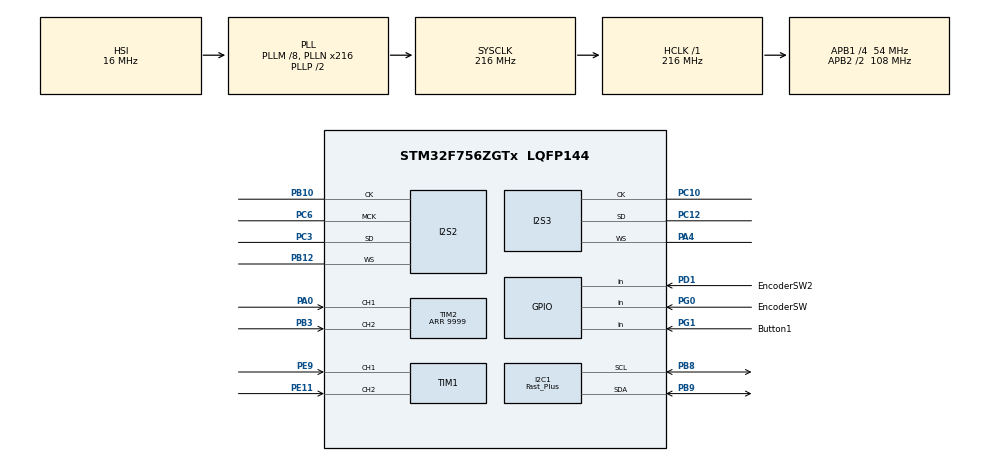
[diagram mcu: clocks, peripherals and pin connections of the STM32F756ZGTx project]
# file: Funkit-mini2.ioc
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CORTEX_M7.ART_ACCELERATOR_ENABLE=0
CORTEX_M7.CPU_DCache=Disabled
CORTEX_M7.CPU_ICache=Disabled
CORTEX_M7.PREFETCH_ENABLE=1
CORTEX_M7.default_mode_Activation=1
Dma.Request0=SPI3_TX
Dma.Request1=SPI2_RX
Dma.SPI2_RX.1.Direction=DMA_PERIPH_TO_MEMORY
Dma.SPI2_RX.1.FIFOMode=DMA_FIFOMODE_DISABLE
Dma.SPI2_RX.1.Instance=DMA1_Stream3
Dma.SPI2_RX.1.MemDataAlignment=DMA_MDATAALIGN_HALFWORD
Dma.SPI2_RX.1.MemInc=DMA_MINC_ENABLE
Dma.SPI2_RX.1.Mode=DMA_CIRCULAR
Dma.SPI2_RX.1.PeriphDataAlignment=DMA_PDATAALIGN_HALFWORD
Dma.SPI2_RX.1.PeriphInc=DMA_PINC_DISABLE
Dma.SPI2_RX.1.Priority=DMA_PRIORITY_LOW
Dma.SPI3_TX.0.Direction=DMA_MEMORY_TO_PERIPH
Dma.SPI3_TX.0.FIFOMode=DMA_FIFOMODE_DISABLE
Dma.SPI3_TX.0.Instance=DMA1_Stream5
Dma.SPI3_TX.0.MemDataAlignment=DMA_MDATAALIGN_HALFWORD
Dma.SPI3_TX.0.MemInc=DMA_MINC_ENABLE
Dma.SPI3_TX.0.Mode=DMA_CIRCULAR
Dma.SPI3_TX.0.PeriphDataAlignment=DMA_PDATAALIGN_HALFWORD
Dma.SPI3_TX.0.PeriphInc=DMA_PINC_DISABLE
Dma.SPI3_TX.0.Priority=DMA_PRIORITY_LOW
I2C1.I2C_Speed_Mode=I2C_Fast_Plus
I2C1.Timing=0x00200922
I2S2.AudioFreq=I2S_AUDIOFREQ_96K
I2S2.CPOL=I2S_CPOL_LOW
I2S2.DataFormat=I2S_DATAFORMAT_24B
I2S2.ErrorAudioFreq=0.19 %
I2S2.FullDuplexMode=I2S_FULLDUPLEXMODE_DISABLE
I2S2.Instance=SPI$Index
I2S2.Mode=I2S_MODE_MASTER_RX
I2S2.RealAudioFreq=96.191 KHz
I2S2.Standard=I2S_STANDARD_PHILIPS
I2S2.VirtualMode=I2S_MODE_MASTER
I2S3.AudioFreq=I2S_AUDIOFREQ_96K
I2S3.CPOL=I2S_CPOL_LOW
I2S3.DataFormat=I2S_DATAFORMAT_24B
I2S3.ErrorAudioFreq=0.19 %
I2S3.FullDuplexMode=I2S_FULLDUPLEXMODE_DISABLE
I2S3.Instance=SPI$Index
I2S3.RealAudioFreq=96.191 KHz
I2S3.Standard=I2S_STANDARD_PHILIPS
I2S3.VirtualMode=I2S_MODE_SLAVE
Mcu.Family=STM32F7
Mcu.Name=STM32F756ZGTx
Mcu.Package=LQFP144
NVIC.DMA1_Stream3_IRQn=true\:0\:0\:true\:false\:true\:false\:true\:true
NVIC.DMA1_Stream5_IRQn=true\:0\:0\:false\:false\:true\:false\:true\:true
NVIC.PriorityGroup=NVIC_PRIORITYGROUP_4
PA0/WKUP.Signal=S_TIM2_CH1_ETR
PA4.Mode=Half_Duplex_Slave
PA4.Signal=I2S3_WS
PB10.Mode=Half_Duplex_Master
PB10.Signal=I2S2_CK
PB12.Mode=Half_Duplex_Master
PB12.Signal=I2S2_WS
PB3.Signal=S_TIM2_CH2
PB8.Mode=I2C
PB8.Signal=I2C1_SCL
PB9.Mode=I2C
PB9.Signal=I2C1_SDA
PC10.Mode=Half_Duplex_Slave
PC10.Signal=I2S3_CK
PC12.Mode=Half_Duplex_Slave
PC12.Signal=I2S3_SD
PC3.Mode=Half_Duplex_Master
PC3.Signal=I2S2_SD
PC6.Mode=Master_Clock_Activated
PC6.Signal=I2S2_MCK
PD1.GPIO_Label=EncoderSW2
PD1.Signal=GPIO_Input
PE11.Signal=S_TIM1_CH2
PE9.Signal=S_TIM1_CH1
PG0.GPIO_Label=EncoderSW
PG0.Signal=GPIO_Input
PG1.GPIO_Label=Button1
PG1.GPIO_PuPd=GPIO_PULLUP
PG1.Signal=GPIO_Input
ProjectManager.HeapSize=0x200
ProjectManager.StackSize=0x400
ProjectManager.TargetToolchain=STM32CubeIDE
RCC.AHBFreq_Value=216000000
RCC.APB1CLKDivider=RCC_HCLK_DIV4
RCC.APB1Freq_Value=54000000
RCC.APB1TimFreq_Value=108000000
RCC.APB2CLKDivider=RCC_HCLK_DIV2
RCC.APB2Freq_Value=108000000
RCC.APB2TimFreq_Value=216000000
RCC.CortexFreq_Value=216000000
RCC.HCLKFreq_Value=216000000
RCC.HSE_VALUE=25000000
RCC.HSI_VALUE=16000000
RCC.LSE_VALUE=32768
RCC.PLLI2SN=197
RCC.PLLI2SR=4
RCC.PLLM=8
RCC.PLLN=216
RCC.PLLSAIN=432
RCC.SYSCLKFreq_VALUE=216000000
RCC.SYSCLKSource=RCC_SYSCLKSOURCE_PLLCLK
RCC.USBFreq_Value=216000000
RCC.VCOOutputFreq_Value=432000000
SH.S_TIM1_CH1.0=TIM1_CH1,Encoder_Interface
SH.S_TIM1_CH2.0=TIM1_CH2,Encoder_Interface
SH.S_TIM2_CH1_ETR.0=TIM2_CH1,Encoder_Interface
SH.S_TIM2_CH2.0=TIM2_CH2,Encoder_Interface
TIM2.IC1Filter=10
TIM2.IC2Filter=10
TIM2.Period=9999
board=custom

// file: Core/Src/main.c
/* USER CODE BEGIN Header */
/**
  ******************************************************************************
  * @file           : main.c
  * @brief          : Main program body
  ******************************************************************************
  * @attention
  *
  * Copyright (c) 2025 STMicroelectronics.
  * All rights reserved.
  *
  * This software is licensed under terms that can be found in the LICENSE file
  * in the root directory of this software component.
  * If no LICENSE file comes with this software, it is provided AS-IS.
  *
  ******************************************************************************
  */
/* USER CODE END Header */
#include "main.h"

/* USER CODE BEGIN Includes */
#include <arm_math.h>
#include <stdlib.h>
#include <string.h>
#include <stdio.h>
#include "i2c_lcd.h"
#include "delay.h"
#include "echo.h"
#include "filter_effect.h"
/* USER CODE END Includes */

I2C_HandleTypeDef hi2c1;

I2S_HandleTypeDef hi2s2;
I2S_HandleTypeDef hi2s3;
DMA_HandleTypeDef hdma_spi2_rx;
DMA_HandleTypeDef hdma_spi3_tx;

TIM_HandleTypeDef htim1;
TIM_HandleTypeDef htim2;

/* USER CODE BEGIN PV */

// Variables that keep the state of the DMA TX/RX completion
volatile int rxHalfComplete = 0;
volatile int txHalfComplete = 0;
volatile int rxFullComplete = 0;
volatile int txFullComplete = 0;
volatile int stateUpdateCounter = 0;
// DMA Buffers
uint16_t 	rxBuf[BUF_SAMPLES];
uint16_t 	txBuf[BUF_SAMPLES];

float32_t	srcLeft[SAMPLES/2];
float32_t	srcRight[SAMPLES/2];
float32_t	destLeft[SAMPLES/2];
float32_t	destRight[SAMPLES/2];

volatile int delayPtr = 0;

masterState mState = {PASS, 0, 1.f, 0, 0, 0, 0};
// LCD object definition
I2C_LCD_HandleTypeDef lcd;

/* USER CODE END PV */

void SystemClock_Config(void);
void PeriphCommonClock_Config(void);
static void MPU_Config(void);
static void MX_GPIO_Init(void);
static void MX_DMA_Init(void);
static void MX_I2S2_Init(void);
static void MX_I2S3_Init(void);
static void MX_TIM1_Init(void);
static void MX_I2C1_Init(void);
static void MX_TIM2_Init(void);
/* USER CODE BEGIN PFP */
static void updateState();
static void doEffect(int b);
void doPassthru( int b );

/* USER CODE END PFP */

int main(void)
{

  /* MPU Configuration--------------------------------------------------------*/
  MPU_Config();

  /* MCU Configuration--------------------------------------------------------*/

  /* Reset of all peripherals, Initializes the Flash interface and the Systick. */
  HAL_Init();

  /* USER CODE BEGIN Init */
  memset(txBuf, 0, sizeof(txBuf));
  memset(rxBuf, 0, sizeof(rxBuf));
  /* USER CODE END Init */

  /* Configure the system clock */
  SystemClock_Config();

  /* Configure the peripherals common clocks */
  PeriphCommonClock_Config();

  /* Initialize all configured peripherals */
  MX_GPIO_Init();
  MX_DMA_Init();
  MX_I2S2_Init();
  MX_I2S3_Init();
  MX_TIM1_Init();
  MX_I2C1_Init();
  MX_TIM2_Init();
  /* USER CODE BEGIN 2 */
  lcd.hi2c = &hi2c1;
  lcd.address = (0x27 << 1); // Magic bit shifting beucse an arbitrary address wasnt bad enough
  lcd_init(&lcd);
  lcd_puts(&lcd, "No Effect");
  /* USER CODE END 2 */

  /* Infinite loop */
  /* USER CODE BEGIN WHILE */

  //DelayInit(&lcd);
  EchoInit(&lcd, hi2s2.Init.AudioFreq);
  FilterEffectInit(&lcd, hi2s2.Init.AudioFreq);
  HAL_TIM_Encoder_Start(&htim1, TIM_CHANNEL_ALL);
  HAL_TIM_Encoder_Start(&htim2, TIM_CHANNEL_ALL);
  if(HAL_I2S_Transmit_DMA(&hi2s3, txBuf, SAMPLES*2 ) != HAL_OK ||
  HAL_I2S_Receive_DMA(&hi2s2, rxBuf, SAMPLES*2 ) != HAL_OK){
	  Error_Handler();
  }

  while (1)
  {

	  if ( rxHalfComplete && txHalfComplete )
	  	  {
		      doEffect(0);

	  		  rxHalfComplete = 0;
	  		  txHalfComplete = 0;
	  	  }

	  else if ( rxFullComplete && txFullComplete )
	  	  {
		  	  doEffect(1);

	  		  rxFullComplete = 0;
	  		  txFullComplete = 0;
	  	  }
	  else{
		  stateUpdateCounter++;
		  if(stateUpdateCounter > STATE_UPDATE_DIV)
		  {
			  updateState();
			  stateUpdateCounter = 0;
		  }
	  }
    /* USER CODE END WHILE */

  }
}

void SystemClock_Config(void)
{
  RCC_OscInitTypeDef RCC_OscInitStruct = {0};
  RCC_ClkInitTypeDef RCC_ClkInitStruct = {0};

  /** Configure the main internal regulator output voltage
  */
  __HAL_RCC_PWR_CLK_ENABLE();
  __HAL_PWR_VOLTAGESCALING_CONFIG(PWR_REGULATOR_VOLTAGE_SCALE1);

  /** Initializes the RCC Oscillators according to the specified parameters
  * in the RCC_OscInitTypeDef structure.
  */
  RCC_OscInitStruct.OscillatorType = RCC_OSCILLATORTYPE_HSI;
  RCC_OscInitStruct.HSIState = RCC_HSI_ON;
  RCC_OscInitStruct.HSICalibrationValue = RCC_HSICALIBRATION_DEFAULT;
  RCC_OscInitStruct.PLL.PLLState = RCC_PLL_ON;
  RCC_OscInitStruct.PLL.PLLSource = RCC_PLLSOURCE_HSI;
  RCC_OscInitStruct.PLL.PLLM = 8;
  RCC_OscInitStruct.PLL.PLLN = 216;
  RCC_OscInitStruct.PLL.PLLP = RCC_PLLP_DIV2;
  RCC_OscInitStruct.PLL.PLLQ = 2;
  if (HAL_RCC_OscConfig(&RCC_OscInitStruct) != HAL_OK)
  {
    Error_Handler();
  }

  /** Activate the Over-Drive mode
  */
  if (HAL_PWREx_EnableOverDrive() != HAL_OK)
  {
    Error_Handler();
  }

  /** Initializes the CPU, AHB and APB buses clocks
  */
  RCC_ClkInitStruct.ClockType = RCC_CLOCKTYPE_HCLK|RCC_CLOCKTYPE_SYSCLK
                              |RCC_CLOCKTYPE_PCLK1|RCC_CLOCKTYPE_PCLK2;
  RCC_ClkInitStruct.SYSCLKSource = RCC_SYSCLKSOURCE_PLLCLK;
  RCC_ClkInitStruct.AHBCLKDivider = RCC_SYSCLK_DIV1;
  RCC_ClkInitStruct.APB1CLKDivider = RCC_HCLK_DIV4;
  RCC_ClkInitStruct.APB2CLKDivider = RCC_HCLK_DIV2;

  if (HAL_RCC_ClockConfig(&RCC_ClkInitStruct, FLASH_LATENCY_7) != HAL_OK)
  {
    Error_Handler();
  }
}

void PeriphCommonClock_Config(void)
{
  RCC_PeriphCLKInitTypeDef PeriphClkInitStruct = {0};

  /** Initializes the peripherals clock
  */
  PeriphClkInitStruct.PeriphClockSelection = RCC_PERIPHCLK_I2S;
  PeriphClkInitStruct.PLLI2S.PLLI2SN = 197;
  PeriphClkInitStruct.PLLI2S.PLLI2SP = RCC_PLLP_DIV2;
  PeriphClkInitStruct.PLLI2S.PLLI2SR = 4;
  PeriphClkInitStruct.PLLI2S.PLLI2SQ = 2;
  PeriphClkInitStruct.PLLI2SDivQ = 1;
  PeriphClkInitStruct.I2sClockSelection = RCC_I2SCLKSOURCE_PLLI2S;
  if (HAL_RCCEx_PeriphCLKConfig(&PeriphClkInitStruct) != HAL_OK)
  {
    Error_Handler();
  }
}

static void MX_I2C1_Init(void)
{

  hi2c1.Instance = I2C1;
  hi2c1.Init.Timing = 0x00200922;
  hi2c1.Init.OwnAddress1 = 0;
  hi2c1.Init.AddressingMode = I2C_ADDRESSINGMODE_7BIT;
  hi2c1.Init.DualAddressMode = I2C_DUALADDRESS_DISABLE;
  hi2c1.Init.OwnAddress2 = 0;
  hi2c1.Init.OwnAddress2Masks = I2C_OA2_NOMASK;
  hi2c1.Init.GeneralCallMode = I2C_GENERALCALL_DISABLE;
  hi2c1.Init.NoStretchMode = I2C_NOSTRETCH_DISABLE;
  if (HAL_I2C_Init(&hi2c1) != HAL_OK)
  {
    Error_Handler();
  }

  /** Configure Analogue filter
  */
  if (HAL_I2CEx_ConfigAnalogFilter(&hi2c1, I2C_ANALOGFILTER_ENABLE) != HAL_OK)
  {
    Error_Handler();
  }

  /** Configure Digital filter
  */
  if (HAL_I2CEx_ConfigDigitalFilter(&hi2c1, 0) != HAL_OK)
  {
    Error_Handler();
  }

  /** I2C Enable Fast Mode Plus
  */
  HAL_I2CEx_EnableFastModePlus(I2C_FASTMODEPLUS_I2C1);

}

static void MX_I2S2_Init(void)
{

  hi2s2.Instance = SPI2;
  hi2s2.Init.Mode = I2S_MODE_MASTER_RX;
  hi2s2.Init.Standard = I2S_STANDARD_PHILIPS;
  hi2s2.Init.DataFormat = I2S_DATAFORMAT_24B;
  hi2s2.Init.MCLKOutput = I2S_MCLKOUTPUT_ENABLE;
  hi2s2.Init.AudioFreq = I2S_AUDIOFREQ_96K;
  hi2s2.Init.CPOL = I2S_CPOL_LOW;
  hi2s2.Init.ClockSource = I2S_CLOCK_PLL;
  if (HAL_I2S_Init(&hi2s2) != HAL_OK)
  {
    Error_Handler();
  }

}

static void MX_I2S3_Init(void)
{

  hi2s3.Instance = SPI3;
  hi2s3.Init.Mode = I2S_MODE_SLAVE_TX;
  hi2s3.Init.Standard = I2S_STANDARD_PHILIPS;
  hi2s3.Init.DataFormat = I2S_DATAFORMAT_24B;
  hi2s3.Init.MCLKOutput = I2S_MCLKOUTPUT_DISABLE;
  hi2s3.Init.AudioFreq = I2S_AUDIOFREQ_96K;
  hi2s3.Init.CPOL = I2S_CPOL_LOW;
  hi2s3.Init.ClockSource = I2S_CLOCK_PLL;
  if (HAL_I2S_Init(&hi2s3) != HAL_OK)
  {
    Error_Handler();
  }

}

static void MX_TIM1_Init(void)
{

  TIM_Encoder_InitTypeDef sConfig = {0};
  TIM_MasterConfigTypeDef sMasterConfig = {0};

  htim1.Instance = TIM1;
  htim1.Init.Prescaler = 0;
  htim1.Init.CounterMode = TIM_COUNTERMODE_UP;
  htim1.Init.Period = 65535;
  htim1.Init.ClockDivision = TIM_CLOCKDIVISION_DIV1;
  htim1.Init.RepetitionCounter = 0;
  htim1.Init.AutoReloadPreload = TIM_AUTORELOAD_PRELOAD_DISABLE;
  sConfig.EncoderMode = TIM_ENCODERMODE_TI1;
  sConfig.IC1Polarity = TIM_ICPOLARITY_RISING;
  sConfig.IC1Selection = TIM_ICSELECTION_DIRECTTI;
  sConfig.IC1Prescaler = TIM_ICPSC_DIV1;
  sConfig.IC1Filter = 0;
  sConfig.IC2Polarity = TIM_ICPOLARITY_RISING;
  sConfig.IC2Selection = TIM_ICSELECTION_DIRECTTI;
  sConfig.IC2Prescaler = TIM_ICPSC_DIV1;
  sConfig.IC2Filter = 0;
  if (HAL_TIM_Encoder_Init(&htim1, &sConfig) != HAL_OK)
  {
    Error_Handler();
  }
  sMasterConfig.MasterOutputTrigger = TIM_TRGO_RESET;
  sMasterConfig.MasterOutputTrigger2 = TIM_TRGO2_RESET;
  sMasterConfig.MasterSlaveMode = TIM_MASTERSLAVEMODE_DISABLE;
  if (HAL_TIMEx_MasterConfigSynchronization(&htim1, &sMasterConfig) != HAL_OK)
  {
    Error_Handler();
  }

}

static void MX_TIM2_Init(void)
{

  TIM_Encoder_InitTypeDef sConfig = {0};
  TIM_MasterConfigTypeDef sMasterConfig = {0};

  htim2.Instance = TIM2;
  htim2.Init.Prescaler = 0;
  htim2.Init.CounterMode = TIM_COUNTERMODE_UP;
  htim2.Init.Period = 9999;
  htim2.Init.ClockDivision = TIM_CLOCKDIVISION_DIV1;
  htim2.Init.AutoReloadPreload = TIM_AUTORELOAD_PRELOAD_DISABLE;
  sConfig.EncoderMode = TIM_ENCODERMODE_TI1;
  sConfig.IC1Polarity = TIM_ICPOLARITY_RISING;
  sConfig.IC1Selection = TIM_ICSELECTION_DIRECTTI;
  sConfig.IC1Prescaler = TIM_ICPSC_DIV1;
  sConfig.IC1Filter = 10;
  sConfig.IC2Polarity = TIM_ICPOLARITY_RISING;
  sConfig.IC2Selection = TIM_ICSELECTION_DIRECTTI;
  sConfig.IC2Prescaler = TIM_ICPSC_DIV1;
  sConfig.IC2Filter = 10;
  if (HAL_TIM_Encoder_Init(&htim2, &sConfig) != HAL_OK)
  {
    Error_Handler();
  }
  sMasterConfig.MasterOutputTrigger = TIM_TRGO_RESET;
  sMasterConfig.MasterSlaveMode = TIM_MASTERSLAVEMODE_DISABLE;
  if (HAL_TIMEx_MasterConfigSynchronization(&htim2, &sMasterConfig) != HAL_OK)
  {
    Error_Handler();
  }

}

static void MX_DMA_Init(void)
{

  /* DMA controller clock enable */
  __HAL_RCC_DMA1_CLK_ENABLE();

  /* DMA interrupt init */
  /* DMA1_Stream3_IRQn interrupt configuration */
  HAL_NVIC_SetPriority(DMA1_Stream3_IRQn, 0, 0);
  HAL_NVIC_EnableIRQ(DMA1_Stream3_IRQn);
  /* DMA1_Stream5_IRQn interrupt configuration */
  HAL_NVIC_SetPriority(DMA1_Stream5_IRQn, 0, 0);
  HAL_NVIC_EnableIRQ(DMA1_Stream5_IRQn);

}

static void MX_GPIO_Init(void)
{
  GPIO_InitTypeDef GPIO_InitStruct = {0};

  /* GPIO Ports Clock Enable */
  __HAL_RCC_GPIOC_CLK_ENABLE();
  __HAL_RCC_GPIOA_CLK_ENABLE();
  __HAL_RCC_GPIOG_CLK_ENABLE();
  __HAL_RCC_GPIOE_CLK_ENABLE();
  __HAL_RCC_GPIOB_CLK_ENABLE();
  __HAL_RCC_GPIOD_CLK_ENABLE();

  /*Configure GPIO pin : EncoderSW_Pin */
  GPIO_InitStruct.Pin = EncoderSW_Pin;
  GPIO_InitStruct.Mode = GPIO_MODE_INPUT;
  GPIO_InitStruct.Pull = GPIO_NOPULL;
  HAL_GPIO_Init(EncoderSW_GPIO_Port, &GPIO_InitStruct);

  /*Configure GPIO pin : Button1_Pin */
  GPIO_InitStruct.Pin = Button1_Pin;
  GPIO_InitStruct.Mode = GPIO_MODE_INPUT;
  GPIO_InitStruct.Pull = GPIO_PULLUP;
  HAL_GPIO_Init(Button1_GPIO_Port, &GPIO_InitStruct);

  /*Configure GPIO pin : EncoderSW2_Pin */
  GPIO_InitStruct.Pin = EncoderSW2_Pin;
  GPIO_InitStruct.Mode = GPIO_MODE_INPUT;
  GPIO_InitStruct.Pull = GPIO_NOPULL;
  HAL_GPIO_Init(EncoderSW2_GPIO_Port, &GPIO_InitStruct);

}

/* USER CODE BEGIN 4 */
static void updateState(){
	int isModButtonDown = (HAL_GPIO_ReadPin(Button1_GPIO_Port, Button1_Pin) == GPIO_PIN_RESET);
	mState.encoder1Delta = TIM1->CNT - mState.lastEncoderVal1;
	mState.encoder2Delta = TIM2->CNT - mState.lastEncoderVal2;
	if(abs(mState.encoder1Delta) > 20 || abs(mState.encoder2Delta) > 20) {
		mState.lastEncoderVal1 += mState.encoder1Delta;
		mState.lastEncoderVal2 += mState.encoder2Delta;
		return;
	}
	if(isModButtonDown){
		if(mState.encoder1Delta !=0){
			if(mState.effectTracker == 0) {
				mState.effectTracker = 1;
			} else {
				mState.effectTracker = 0;

				if(mState.encoder1Delta > 0 && mState.currentEffect < NUM_EFFECTS - 1)
					mState.currentEffect = (mState.currentEffect + 1);

				else if(mState.encoder1Delta < 0 && mState.currentEffect != 0)
					mState.currentEffect = (mState.currentEffect - 1);

				switch(mState.currentEffect){
					case PASS:
						lcd_clear(&lcd);
						lcd_puts(&lcd, "No Effect");
						break;
					case ECHO:
						EchoPrintInit();
						break;
					case DELAY:
						lcd_clear(&lcd);
						lcd_puts(&lcd, "Delay");
						break;
					case FILTER:
						FilterEffectPrintInit();
						break;
					case NUM_EFFECTS:
						lcd_clear(&lcd);
						lcd_puts(&lcd, "NUM_EFFECTS (error)");
						break;
				}
			}
		}
		if(mState.encoder2Delta != 0){
			mState.volume += mState.encoder2Delta*0.01f;
			if(mState.volume < 0.) mState.volume = 0.f;
			if(mState.volume > 1.) mState.volume = 1.f;
		}
	}
	else{
		switch(mState.currentEffect){
			case PASS:
				break;
			case ECHO:
				EchoUpdateState(&mState);
				break;
			case DELAY:
				break;
			case FILTER:
				FilterEffectUpdateState(&mState);
				break;
			case NUM_EFFECTS:
				break;
		}

	}
	mState.lastEncoderVal1 += mState.encoder1Delta;
	mState.lastEncoderVal2 += mState.encoder2Delta;
}

static void doEffect(int b){
	switch(mState.currentEffect){
	case PASS:
		doPassthru(b);
		break;
	case ECHO:
		doEcho(b);
		break;
	case DELAY:
		doPassthru(b);
		break;
	case FILTER:
		doFilterEffect(b);
		break;
	case NUM_EFFECTS:
		doPassthru(b);
		break;
	}
}

void doPassthru( int b )
{

    //HAL_GPIO_WritePin( GPIOE, GPIO_PIN_5, GPIO_PIN_SET );

	int startBuf = b * BUF_SAMPLES / 2;
	int endBuf = startBuf + BUF_SAMPLES / 2;

	int i = 0;
	for ( int pos = startBuf ; pos < endBuf ; pos+=4 )
	{
		  srcLeft[i] = ( (rxBuf[pos]<<16)|rxBuf[pos+1]);
		  srcRight[i] = ( (rxBuf[pos+2]<<16)|rxBuf[pos+3] );
		  i++;
	}

	i = 0;
	for ( int pos = startBuf ; pos < endBuf ; pos+=4 )
	  {
			int lval = srcLeft[i] ;
			int rval = srcRight[i];

		  txBuf[pos] = (lval>>16)&0xFFFF;
		  txBuf[pos+1] = lval&0xFFFF;
		  txBuf[pos+2] = (rval>>16)&0xFFFF;
		  txBuf[pos+3] = rval&0xFFFF;

		  i++;
	  }

    //HAL_GPIO_WritePin( GPIOE, GPIO_PIN_5, GPIO_PIN_RESET );

}

void HAL_I2S_TxCpltCallback(I2S_HandleTypeDef *hi2s)
{
	UNUSED(hi2s);
	txFullComplete = 1;
    //HAL_GPIO_WritePin( GPIOE, GPIO_PIN_3, GPIO_PIN_SET );
    //HAL_GPIO_WritePin( GPIOE, GPIO_PIN_3, GPIO_PIN_RESET );
}

void HAL_I2S_RxCpltCallback(I2S_HandleTypeDef *hi2s)
{
    UNUSED(hi2s);
	rxFullComplete = 1;
    //HAL_GPIO_WritePin( GPIOE, GPIO_PIN_4, GPIO_PIN_SET );
    //HAL_GPIO_WritePin( GPIOE, GPIO_PIN_4, GPIO_PIN_RESET );
  }

void HAL_I2S_TxHalfCpltCallback(I2S_HandleTypeDef *hi2s)
{
	UNUSED(hi2s);
	txHalfComplete = 1;
    //HAL_GPIO_WritePin( GPIOE, GPIO_PIN_3, GPIO_PIN_SET );
    //HAL_GPIO_WritePin( GPIOE, GPIO_PIN_3, GPIO_PIN_RESET );
}

void HAL_I2S_RxHalfCpltCallback(I2S_HandleTypeDef *hi2s)
{
    UNUSED(hi2s);
	rxHalfComplete = 1;
    //HAL_GPIO_WritePin( GPIOE, GPIO_PIN_4, GPIO_PIN_SET );
    //HAL_GPIO_WritePin( GPIOE, GPIO_PIN_4, GPIO_PIN_RESET );
}

void HAL_GPIO_EXTI_Callback(uint16_t GPIO_Pin)
{
	  /* Prevent unused argument(s) compilation warning */
	  UNUSED(GPIO_Pin);
}
/* USER CODE END 4 */

 /* MPU Configuration */

void MPU_Config(void)
{
  MPU_Region_InitTypeDef MPU_InitStruct = {0};

  /* Disables the MPU */
  HAL_MPU_Disable();

  /** Initializes and configures the Region and the memory to be protected
  */
  MPU_InitStruct.Enable = MPU_REGION_ENABLE;
  MPU_InitStruct.Number = MPU_REGION_NUMBER0;
  MPU_InitStruct.BaseAddress = 0x0;
  MPU_InitStruct.Size = MPU_REGION_SIZE_4GB;
  MPU_InitStruct.SubRegionDisable = 0x87;
  MPU_InitStruct.TypeExtField = MPU_TEX_LEVEL0;
  MPU_InitStruct.AccessPermission = MPU_REGION_NO_ACCESS;
  MPU_InitStruct.DisableExec = MPU_INSTRUCTION_ACCESS_DISABLE;
  MPU_InitStruct.IsShareable = MPU_ACCESS_SHAREABLE;
  MPU_InitStruct.IsCacheable = MPU_ACCESS_NOT_CACHEABLE;
  MPU_InitStruct.IsBufferable = MPU_ACCESS_NOT_BUFFERABLE;

  HAL_MPU_ConfigRegion(&MPU_InitStruct);
  /* Enables the MPU */
  HAL_MPU_Enable(MPU_PRIVILEGED_DEFAULT);

}

void Error_Handler(void)
{
  __disable_irq();
  while (1)
  {
  }
}
